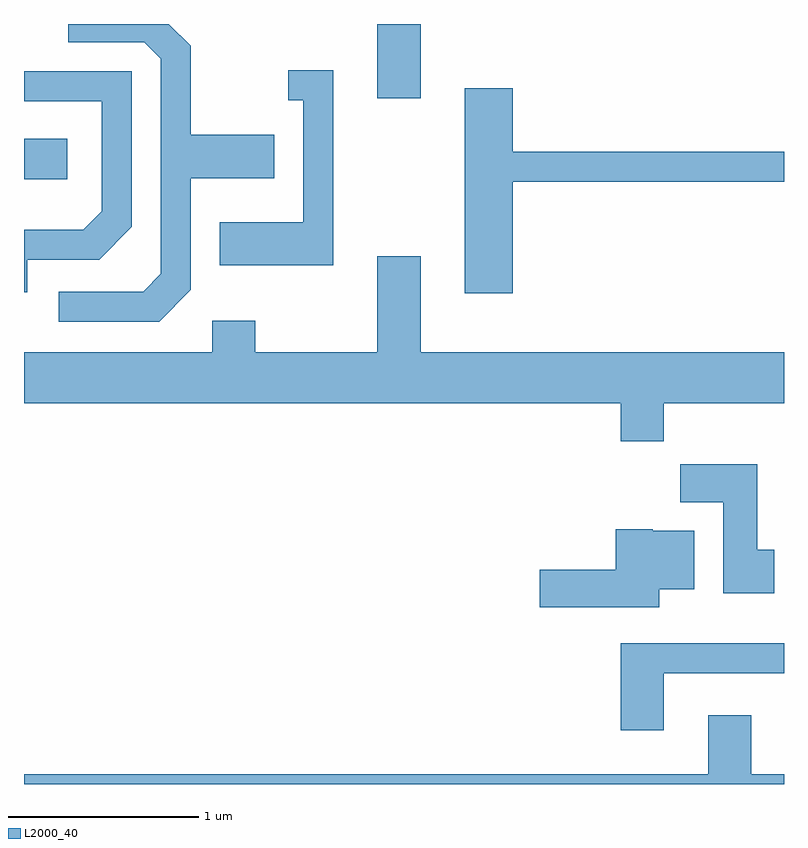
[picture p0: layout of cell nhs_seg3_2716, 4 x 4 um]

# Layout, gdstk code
import gdstk
lib = gdstk.Library(unit=1e-6, precision=1e-09)
def R(c, l, rs):  # rectangles x0, y0, x1, y1
    for r in rs: c.add(gdstk.rectangle(r[:2], r[2:], *l))
def P(c, l, *ps):  # polygons
    for p in ps: c.add(gdstk.Polygon(p, *l))
L2000_40 = (2000, 40)

nhs_seg3_2716 = lib.new_cell('nhs_seg3_2716')
R(nhs_seg3_2716, L2000_40, [(263.611,1247.076,263.839,1247.289), (265.471,1247.501,265.699,1247.892)])
P(nhs_seg3_2716, L2000_40, [(264.489,1246.494),(264.489,1247.081),(264.929,1247.081),(264.929,1247.309),(264.489,1247.309),(264.489,1247.777),(264.374,1247.892),(263.843,1247.892),(263.843,1247.796),(264.244,1247.796),(264.331,1247.709),(264.331,1246.577),(264.239,1246.484),(263.793,1246.484),(263.793,1246.326),(264.322,1246.326)],
  [(265.239,1247.649),(265.003,1247.649),(265.003,1247.491),(265.081,1247.491),(265.081,1246.849),(264.641,1246.849),(264.641,1246.621),(265.239,1246.621)],
  [(263.629,1246.651),(264.007,1246.651),(264.179,1246.824),(264.179,1247.644),(263.611,1247.644),(263.611,1247.486),(264.021,1247.486),(264.021,1246.907),(263.924,1246.809),(263.611,1246.809),(263.611,1246.481),(263.629,1246.481)],
  [(266.184,1247.061),(267.611,1247.061),(267.611,1247.219),(266.184,1247.219),(266.184,1247.554),(265.931,1247.554),(265.931,1246.476),(266.184,1246.476)],
  [(266.979,1245.896),(267.611,1245.896),(267.611,1246.164),(265.699,1246.164),(265.699,1246.669),(265.471,1246.669),(265.471,1246.164),(264.829,1246.164),(264.829,1246.329),(264.601,1246.329),(264.601,1246.164),(263.611,1246.164),(263.611,1245.896),(266.751,1245.896),(266.751,1245.696),(266.979,1245.696)],
  [(267.559,1245.124),(267.469,1245.124),(267.469,1245.574),(267.066,1245.574),(267.066,1245.376),(267.291,1245.376),(267.291,1244.896),(267.559,1244.896)],
  [(266.954,1244.916),(267.139,1244.916),(267.139,1245.224),(266.92,1245.224),(266.92,1245.234),(266.726,1245.234),(266.726,1245.019),(266.326,1245.019),(266.326,1244.821),(266.954,1244.821)],
  [(266.979,1244.476),(267.611,1244.476),(267.611,1244.634),(266.751,1244.634),(266.751,1244.176),(266.979,1244.176)],
  [(267.611,1243.944),(267.439,1243.944),(267.439,1244.254),(267.211,1244.254),(267.211,1243.944),(263.611,1243.944),(263.611,1243.892),(267.611,1243.892)])

lib.write_gds('nhs_seg3_2716.gds')
